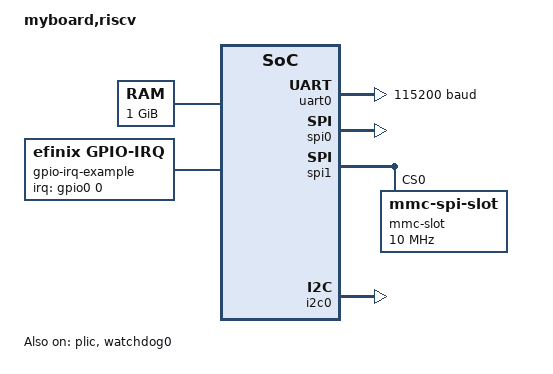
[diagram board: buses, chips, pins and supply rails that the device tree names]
/dts-v1/;
#include <dt-bindings/gpio/gpio.h>
#include <dt-bindings/interrupt-controller/irq.h>
/include/ "sapphire.dtsi"

/ {
	#address-cells = <2>;
	#size-cells = <2>;
	//model = "efinix,sapphire";
	model = "myboard,riscv";

	
	memory {
		device_type = "memory";
		reg = <0x8 0x0 0x0 0x40000000>;
	};

	gpio-irq-example {
                status = "okay";
                reg = <0x0>;
                compatible = "efinix,gpio-irq";
                interrupt-parent = <&gpio0>;
                interrupts = <0 IRQ_TYPE_EDGE_RISING>;
        };
		
        chosen {
        	stdout-path = "serial0:115200n8";
        	bootargs = "rootwait console=ttySL0 earlycon root=/dev/mmcblk0p2 init=/sbin/init mmc_core.use_spi_crc=0";
        };
		
        aliases {
        	serial0 = &uart0;
        };
		
	reserved-memory {
		#address-cells = <2>;
		#size-cells = <2>;
		ranges;
		
                opensbi: opensbi@801000000 {
                        status = "okay";
                	reg = <0x8 0x01000000 0x0 0x80000>;
                };


		dma32_resv: dma32@40000000 {
			compatible = "shared-dma-pool";
			reg = <0x0 0x40000000 0x0 0x04000000>; /* 64 MiB */
			reusable;
			linux,dma-default;
		};

	};
};

&plic {
	riscv,ndev = <32>;
	status = "okay";
};

&uart0 {
        current-speed = <115200>;
        status = "okay";
};

&spi0 {
	#address-cells = <2>;
	#size-cells = <0>;
	status = "okay";
	cmd_fifo_depth = <256>;
	rsp_fifo_depth = <256>;
	num-cs = <1>;
};

&spi1 {
	#address-cells = <2>;
	#size-cells = <0>;
	status = "okay";
	cmd_fifo_depth = <256>;
	rsp_fifo_depth = <256>;
	num-cs = <1>;

	mmc-slot {
		reg = <0x0 0x0>;
		compatible = "mmc-spi-slot";
		voltage-ranges = <3300 3300>;
		spi-max-frequency = <10000000>;
	};
};

&i2c0 {
        status = "okay";
};

&gpio0 {
        #gpio-cells = <2>;
        ngpio = <4>;
        gpio-controller;
        status = "okay";
};

&watchdog0 {
	status = "okay";
};
